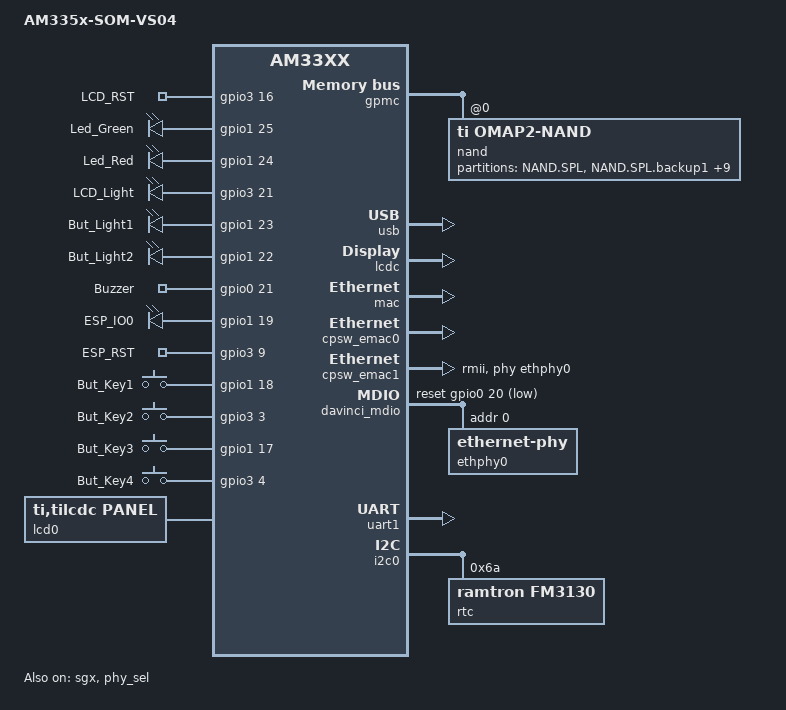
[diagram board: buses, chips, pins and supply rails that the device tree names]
/*
 * Copyright (C) 2012 Texas Instruments Incorporated - http://www.ti.com/
 *
 * This program is free software; you can redistribute it and/or modify
 * it under the terms of the GNU General Public License version 2 as
 * published by the Free Software Foundation.
 */
/dts-v1/;

#include "am335x-e.dtsi"

/ {
	model = "AM335x-SOM-VS04";
	compatible = "ti,am335x-bone", "ti,am33xx";

        leds {
            compatible = "gpio-leds";
            pinctrl-names = "default";
            pinctrl-0 = <&gpio_leds_pins &lcd_rst_pin>;

			/* lcd_rst_pin */
			LCD_RST {
		            gpios = <&gpio3 16 GPIO_ACTIVE_HIGH>;
		            default-state = "on";			
			};

            /* gpio_leds_pins */
            Led_Green {
                    gpios = <&gpio1 25 GPIO_ACTIVE_HIGH>;
                    default-state = "off";
            };
            Led_Red {
                    gpios = <&gpio1 24 GPIO_ACTIVE_HIGH>;
                    default-state = "off";
            };
            LCD_Light {
                    gpios = <&gpio3 21 GPIO_ACTIVE_HIGH>;
                    default-state = "on";	/* todo off */
            };
			But_Light1 {
                    gpios = <&gpio1 23 GPIO_ACTIVE_HIGH>;
                    default-state = "off";	
			};
			But_Light2 {
                    gpios = <&gpio1 22 GPIO_ACTIVE_HIGH>;
                    default-state = "off";			
			};
			Buzzer {
                    gpios = <&gpio0 21 GPIO_ACTIVE_HIGH>;
                    default-state = "off";	
			};
			/* fw load: io0->0; rst->0; rst->1; io0->1 --- use as gpio */
			ESP_IO0 {
                    gpios = <&gpio1 19 GPIO_ACTIVE_HIGH>;
                    default-state = "on";	
			};
			ESP_RST {
                    gpios = <&gpio3 9 GPIO_ACTIVE_HIGH>;
                    default-state = "off";	
			};
        };

		gpio_keys: gpio_buttons0 {
			compatible = "gpio-keys";
			#address-cells = <1>;
			#size-cells = <0>;

			switch1 {
				label = "But_Key1";
				linux,code = <0x41>; // A
				gpios = <&gpio1 18 GPIO_ACTIVE_HIGH>;
			};
			switch2 {
				label = "But_Key2";
				linux,code = <0x42>; // B
				gpios = <&gpio3 3 GPIO_ACTIVE_HIGH>;
			};
			switch3 {
				label = "But_Key3";
				linux,code = <0x43>; // C
				gpios = <&gpio1 17 GPIO_ACTIVE_HIGH>;
			};
			switch4 {
				label = "But_Key4";
				linux,code = <0x44>; // D
				gpios = <&gpio3 4 GPIO_ACTIVE_HIGH>;
			};
		};
};


/* дисплей
	конфиг: http://processors.wiki.ti.com/index.php/Sitara_Linux_LCDC_Porting_Guide
*/
/ {
	/* инфо и тайминги */
	lcd0: display {
		compatible = "ti,tilcdc,panel";
		status = "okay";
		pinctrl-names = "default", "sleep";
		pinctrl-0 = <&lcd_pins_default>;
		pinctrl-1 = <&lcd_pins_sleep>;

		panel-info {
			ac-bias           = <255>;
			ac-bias-intrpt    = <0>;
			dma-burst-sz      = <16>;
			bpp               = <32>;
			fdd               = <0x80>;
			sync-edge         = <1>;
			sync-ctrl         = <1>;
			raster-order      = <0>;
			fifo-th           = <0>;
		};
		display-timings {
			800x480 {				
				clock-frequency = <33300000>;
				hactive = <800>;
				vactive = <480>;
				hfront-porch = <16 210 354>;
				hback-porch = <46 46 46>;
				hsync-len = <1 20 40>;
				vback-porch = <23>;
				vfront-porch = <7 22 147>;
				vsync-len = <1 10 20>;
				hsync-active = <0>;
				vsync-active = <0>;
				de-active = <1>;
				pixelclk-active = <1>;
			};
		};
	};
};


&am33xx_pinmux {
    pinctrl-names = "default";
    pinctrl-0 = <&gpio_keys_s0 &usb_pins>;

	gpio_keys_s0: gpio_keys_s0 {
		pinctrl-single,pins = <
			0x114 (PIN_INPUT_PULLDOWN | MUX_MODE7)	/* gpio3_3 b1 */
			0x118 (PIN_INPUT_PULLDOWN | MUX_MODE7)	/* gpio3_4 b2 */
			0x44 (PIN_INPUT_PULLDOWN | MUX_MODE7)	/* gpio1_18 b3 */
			0x48 (PIN_INPUT_PULLDOWN | MUX_MODE7)	/* gpio1_17 b4 */
		>;
	};

	gpio_leds_pins: gpio2_pins {
		pinctrl-single,pins = <
			0x58 (PIN_OUTPUT_PULLDOWN | MUX_MODE7) /* (U15) gpmc_a6.gpio1[22] Light1 */
			0x5c (PIN_OUTPUT_PULLDOWN | MUX_MODE7) /* (T15) gpmc_a7.gpio1[23] Light2 */
			0x60 (PIN_OUTPUT_PULLDOWN | MUX_MODE7) /* (V16) gpmc_a8.gpio1[24] red */
			0x64 (PIN_OUTPUT_PULLDOWN | MUX_MODE7) /* (U16) gpmc_a9.gpio1[25] green */
			0x124 (PIN_OUTPUT_PULLDOWN | MUX_MODE7) /* (K16) gmii1_txd1.gpio0[21] buzzer */
			0x1ac (PIN_OUTPUT_PULLDOWN | MUX_MODE7) /* (A14) mcasp0_ahclkx.gpio3[21] backlight */
		>;
	};

	lcd_rst_pin: lcd_rst_pin {
		pinctrl-single,pins = <
		0x198 (PIN_OUTPUT | MUX_MODE7)  /* (D12) mcasp0_axr0.spi1_d1 */
		>;
	};

	/* mux ног SPI для дисплея 
	spi1_pins: spi1_pins {
	    pinctrl-single,pins = <
		0x190 (PIN_INPUT_PULLUP | MUX_MODE3) / (A13) mcasp0_aclkx.spi1_sclk /
		0x194 (PIN_INPUT | PIN_OUTPUT | PIN_INPUT_PULLUP | MUX_MODE3) / (B13) mcasp0_fsx.spi1_d0 /
		0x19c (PIN_INPUT_PULLUP | MUX_MODE3) / (C18) eCAP0_in_PWM0_out.spi1_cs1 /
	    >;
	};*/

/*	lcd data to gpio
	lcd_pins_gpio: lcd_pins_gpio {
	    pinctrl-single,pins = <
			0x00A0 (PIN_OUTPUT_PULLUP | MUX_MODE7) // "lcd_data0.gpmc_a0" 
			0x00A4 (PIN_OUTPUT_PULLUP | MUX_MODE7) // "lcd_data1.gpmc_a1" 
			0x00A8 (PIN_OUTPUT_PULLUP | MUX_MODE7) // "lcd_data2.gpmc_a2" 
			0x00AC (PIN_OUTPUT_PULLUP | MUX_MODE7) // "lcd_data3.gpmc_a3" 
			0x00B0 (PIN_OUTPUT_PULLUP | MUX_MODE7) // "lcd_data4.gpmc_a4" 
			0x00B4 (PIN_OUTPUT_PULLUP | MUX_MODE7) // "lcd_data5.gpmc_a5" 
			0x00B8 (PIN_OUTPUT_PULLUP | MUX_MODE7) // "lcd_data6.gpmc_a6" 
			0x00BC (PIN_OUTPUT_PULLUP | MUX_MODE7) // "lcd_data7.gpmc_a7" 
			0x00C0 (PIN_OUTPUT_PULLUP | MUX_MODE7) // "lcd_data8.gpmc_a8" 
			0x00C4 (PIN_OUTPUT_PULLUP | MUX_MODE7) // "lcd_data9.gpmc_a9" 
			0x00C8 (PIN_OUTPUT_PULLUP | MUX_MODE7) // "lcd_data10.gpmc_a10" 
			0x00CC (PIN_OUTPUT_PULLUP | MUX_MODE7) // "lcd_data11.gpmc_a11" 
			0x00D0 (PIN_OUTPUT_PULLUP | MUX_MODE7) // "lcd_data12.gpmc_a12" 
			0x00D4 (PIN_OUTPUT_PULLUP | MUX_MODE7) // "lcd_data13.gpmc_a13" 
			0x00D8 (PIN_OUTPUT_PULLUP | MUX_MODE7) // "lcd_data14.gpmc_a14" 
			0x00DC (PIN_OUTPUT_PULLUP | MUX_MODE7) // "lcd_data15.gpmc_a15" 
			0x003C (PIN_OUTPUT_PULLUP | MUX_MODE7) // "lcd_data16.gpmc_ad15" 
			0x0038 (PIN_OUTPUT_PULLUP | MUX_MODE7) // "lcd_data17.gpmc_ad14" 
			0x0034 (PIN_OUTPUT_PULLUP | MUX_MODE7) // "lcd_data18.gpmc_ad13" 
			0x0030 (PIN_OUTPUT_PULLUP | MUX_MODE7) // "lcd_data19.gpmc_ad12" 
			0x002C (PIN_OUTPUT_PULLUP | MUX_MODE7) // "lcd_data20.gpmc_ad11" 
			0x0028 (PIN_OUTPUT_PULLUP | MUX_MODE7) // "lcd_data21.gpmc_ad10" 
			0x0024 (PIN_OUTPUT_PULLUP | MUX_MODE7) // "lcd_data22.gpmc_ad9" 
			0x0020 (PIN_OUTPUT_PULLUP | MUX_MODE7) // "lcd_data23.gpmc_ad8" 
	    >;
	};
*/

	/* mux ног дисплея */
	lcd_pins_default: lcd_pins_default {
	    pinctrl-single,pins = <
			0x00E0 (PIN_OUTPUT | MUX_MODE0) // "lcd_vsync.gpmc_a8" 		gpio2_22 
			0x00E4 (PIN_OUTPUT | MUX_MODE0) // "lcd_hsync.gpmc_a9" 		gpio2_23 
			0x00E8 (PIN_OUTPUT | MUX_MODE0) // "lcd_pclk.gpmc_a10" 		gpio2_24 
			0x00EC (PIN_OUTPUT | MUX_MODE0) // "lcd_ac_bias_en.gpmc_a11" 	gpio2_25 	
			0x00A0 (PIN_OUTPUT | MUX_MODE0) // "lcd_data0.gpmc_a0" 2_6 
			0x00A4 (PIN_OUTPUT | MUX_MODE0) // "lcd_data1.gpmc_a1" 2_7 
			0x00A8 (PIN_OUTPUT | MUX_MODE0) // "lcd_data2.gpmc_a2" 2_8 
			0x00AC (PIN_OUTPUT | MUX_MODE0) // "lcd_data3.gpmc_a3" 2_9 
			0x00B0 (PIN_OUTPUT | MUX_MODE0) // "lcd_data4.gpmc_a4" 2_10 
			0x00B4 (PIN_OUTPUT | MUX_MODE0) // "lcd_data5.gpmc_a5" 2_11 
			0x00B8 (PIN_OUTPUT | MUX_MODE0) // "lcd_data6.gpmc_a6" 2_12 
			0x00BC (PIN_OUTPUT | MUX_MODE0) // "lcd_data7.gpmc_a7" 2_13 
			0x00C0 (PIN_OUTPUT | MUX_MODE0) // "lcd_data8.gpmc_a8" 2_14 
			0x00C4 (PIN_OUTPUT | MUX_MODE0) // "lcd_data9.gpmc_a9" 2_15 
			0x00C8 (PIN_OUTPUT | MUX_MODE0) // "lcd_data10.gpmc_a10" 2_16 
			0x00CC (PIN_OUTPUT | MUX_MODE0) // "lcd_data11.gpmc_a11" 2_17 
			0x00D0 (PIN_OUTPUT | MUX_MODE0) // "lcd_data12.gpmc_a12" 0_8 
			0x00D4 (PIN_OUTPUT | MUX_MODE0) // "lcd_data13.gpmc_a13" 0_9 
			0x00D8 (PIN_OUTPUT | MUX_MODE0) // "lcd_data14.gpmc_a14" 0_10 
			0x00DC (PIN_OUTPUT | MUX_MODE0) // "lcd_data15.gpmc_a15" 0_11 
			0x003C (PIN_OUTPUT | MUX_MODE1) // "lcd_data16.gpmc_ad15" 1_15 
			0x0038 (PIN_OUTPUT | MUX_MODE1) // "lcd_data17.gpmc_ad14" 1_14 
			0x0034 (PIN_OUTPUT | MUX_MODE1) // "lcd_data18.gpmc_ad13" 1_13 
			0x0030 (PIN_OUTPUT | MUX_MODE1) // "lcd_data19.gpmc_ad12" 1_12 
			0x002C (PIN_OUTPUT | MUX_MODE1) // "lcd_data20.gpmc_ad11" 0_27 
			0x0028 (PIN_OUTPUT | MUX_MODE1) // "lcd_data21.gpmc_ad10" 0_26 
			0x0024 (PIN_OUTPUT | MUX_MODE1) // "lcd_data22.gpmc_ad9" 0_23 
			0x0020 (PIN_OUTPUT | MUX_MODE1) // "lcd_data23.gpmc_ad8" 0_22 
	    >;
	};

	lcd_pins_sleep: lcd_pins_sleep {
	    pinctrl-single,pins = <
            AM33XX_IOPAD(0x8e0, PIN_INPUT_PULLDOWN | MUX_MODE7)	// lcd_vsync.lcd_vsync 
            AM33XX_IOPAD(0x8e4, PIN_INPUT_PULLDOWN | MUX_MODE7)	// lcd_hsync.lcd_hsync 
            AM33XX_IOPAD(0x8e8, PIN_INPUT_PULLDOWN | MUX_MODE7)	// lcd_pclk.lcd_pclk 
            AM33XX_IOPAD(0x8ec, PIN_INPUT_PULLDOWN | MUX_MODE7)	// lcd_ac_bias_en.lcd_ac_bias_en 
            AM33XX_IOPAD(0x820, PIN_INPUT_PULLDOWN | MUX_MODE7)	// gpmc_ad8.lcd_data23 
            AM33XX_IOPAD(0x824, PIN_INPUT_PULLDOWN | MUX_MODE7)	// gpmc_ad9.lcd_data22 
            AM33XX_IOPAD(0x828, PIN_INPUT_PULLDOWN | MUX_MODE7)	// gpmc_ad10.lcd_data21 
            AM33XX_IOPAD(0x82c, PIN_INPUT_PULLDOWN | MUX_MODE7)	// gpmc_ad11.lcd_data20 
            AM33XX_IOPAD(0x830, PIN_INPUT_PULLDOWN | MUX_MODE7)	// gpmc_ad12.lcd_data19 
            AM33XX_IOPAD(0x834, PIN_INPUT_PULLDOWN | MUX_MODE7)	// gpmc_ad13.lcd_data18 
            AM33XX_IOPAD(0x838, PIN_INPUT_PULLDOWN | MUX_MODE7)	// gpmc_ad14.lcd_data17 
            AM33XX_IOPAD(0x83c, PIN_INPUT_PULLDOWN | MUX_MODE7)	// gpmc_ad15.lcd_data16 
            AM33XX_IOPAD(0x8a0, PULL_DISABLE | MUX_MODE7)	// lcd_data0.lcd_data0 
            AM33XX_IOPAD(0x8a4, PULL_DISABLE | MUX_MODE7)	// lcd_data1.lcd_data1 
            AM33XX_IOPAD(0x8a8, PULL_DISABLE | MUX_MODE7)	// lcd_data2.lcd_data2 
            AM33XX_IOPAD(0x8ac, PULL_DISABLE | MUX_MODE7)	// lcd_data3.lcd_data3 
            AM33XX_IOPAD(0x8b0, PULL_DISABLE | MUX_MODE7)	// lcd_data4.lcd_data4 
            AM33XX_IOPAD(0x8b4, PULL_DISABLE | MUX_MODE7)	// lcd_data5.lcd_data5 
            AM33XX_IOPAD(0x8b8, PULL_DISABLE | MUX_MODE7)	// lcd_data6.lcd_data6 
            AM33XX_IOPAD(0x8bc, PULL_DISABLE | MUX_MODE7)	// lcd_data7.lcd_data7 
            AM33XX_IOPAD(0x8c0, PULL_DISABLE | MUX_MODE7)	// lcd_data8.lcd_data8 
            AM33XX_IOPAD(0x8c4, PULL_DISABLE | MUX_MODE7)	// lcd_data9.lcd_data9 
            AM33XX_IOPAD(0x8c8, PULL_DISABLE | MUX_MODE7)	// lcd_data10.lcd_data10 
            AM33XX_IOPAD(0x8cc, PULL_DISABLE | MUX_MODE7)	// lcd_data11.lcd_data11 
            AM33XX_IOPAD(0x8d0, PULL_DISABLE | MUX_MODE7)	// lcd_data12.lcd_data12 
            AM33XX_IOPAD(0x8d4, PULL_DISABLE | MUX_MODE7)	// lcd_data13.lcd_data13 
            AM33XX_IOPAD(0x8d8, PULL_DISABLE | MUX_MODE7)	// lcd_data14.lcd_data14 
            AM33XX_IOPAD(0x8dc, PULL_DISABLE | MUX_MODE7)	// lcd_data15.lcd_data15 
	    >;
	};

    cpsw_default: cpsw_default {
        pinctrl-single,pins = <
            /* Slave RMII */
			0x40 (PIN_OUTPUT | MUX_MODE3)	/* RMII2_TXEN gpio1_16 */
			0x50 (PIN_OUTPUT | MUX_MODE3)	/* RMII2_TD1 gpio1_20 */
			0x54 (PIN_OUTPUT | MUX_MODE3)	/* RMII2_TD0 gpio1_21 */
			0x68 (PIN_INPUT | INPUT_EN | MUX_MODE3)	/* RMII2_RD1 gpio1_26 */
			0x6C (PIN_INPUT | INPUT_EN | MUX_MODE3)	/* RMII2_RD0 gpio1_27 */
			0x88 (PIN_INPUT | INPUT_EN | MUX_MODE2)	/* RMII2_CRS_DV gpio2_0 */
			0x108 (PIN_INPUT | INPUT_EN | MUX_MODE1)	/* RMII2_refclk gpio3_0 */

        >;
    };

    cpsw_sleep: cpsw_sleep {
        pinctrl-single,pins = <
            /* Slave RMII */
			0x040 (PIN_INPUT_PULLDOWN | MUX_MODE7)
			0x050 (PIN_INPUT_PULLDOWN | MUX_MODE7)
			0x054 (PIN_INPUT_PULLDOWN | MUX_MODE7)
			0x068 (PIN_INPUT_PULLDOWN | MUX_MODE7)
			0x06C (PIN_INPUT_PULLDOWN | MUX_MODE7)
			0x088 (PIN_INPUT_PULLDOWN | MUX_MODE7)
			0x108 (PIN_INPUT_PULLDOWN | MUX_MODE7)
        >;
    };

    gpio1_pins: gpio1_pins {
            pinctrl-single,pins = <
                0x1B4 (PIN_OUTPUT_PULLDOWN | MUX_MODE7)    /* 0_20 phy reset */
				0x16c (PIN_INPUT | MUX_MODE7) /* 1_9 wdt status */
            >;
    };

	esp_pins: esp_pins {
		pinctrl-single,pins = <
			0x12c (PIN_OUTPUT | MUX_MODE7) /* 3_9 ESP_RST */
			0x04c (PIN_OUTPUT | MUX_MODE7) /* 1_19 ESP_IO0 */
			0x130 (PIN_INPUT | MUX_MODE7) /* 3_10 ESP_EN */
		>;
	};

	/*esp_spi_pins: esp_spi_pins {
		pinctrl-single,pins = <
			0x150 (PIN_INPUT_PULLUP | MUX_MODE0) / (A17) spi0_sclk.spi0_sclk /
			0x154 (PIN_INPUT_PULLUP | MUX_MODE0) / (B17) spi0_d0.spi0_d0 /
			0x158 (PIN_INPUT_PULLUP | MUX_MODE0) / (B16) spi0_d1.spi0_d1 /
			0x15c (PIN_INPUT_PULLUP | MUX_MODE0) / (A16) spi0_cs0.spi0_cs0 /
		>;
	};*/

	usb_pins: usb_pins {
		pinctrl-single,pins = <
			AM33XX_IOPAD(0xa34, PIN_OUTPUT | MUX_MODE0) /* (F15) USB1_DRVVBUS.USB1_DRVVBUS */
			0x164 (PIN_INPUT_PULLUP | MUX_MODE7)	/* usb1 co / gpio 0_7 */
			AM33XX_IOPAD(0xa1c, PIN_OUTPUT | MUX_MODE0) /* (F16) USB0_DRVVBUS.USB0_DRVVBUS */
		>;
	};
};

&usb {
        status = "okay";

        control@44e10620 {
                status = "okay";
        };

        usb-phy@47401300 {
                status = "okay";
        };

        usb-phy@47401b00 {
                status = "okay";
        };

        usb@47401000 {
                status = "okay";
                dr_mode = "host";
        };

        usb@47401800 {
                status = "okay";
                dr_mode = "host";
        };

        dma-controller@47402000  {
                status = "okay";
        };
};

&lcdc {
	status = "okay";
	blue-and-red-wiring = "crossed";
};

&sgx {	
	compatible = "ti,am3352-sgx530", "img,sgx530", "ti,sgx";
	status = "okay";
};

/*
&tscadc {
        status = "okay";
        tsc {
                ti,wires = <4>;
                ti,x-plate-resistance = <200>;
                ti,coordinate-readouts = <5>;
                ti,wire-config = <0x00 0x11 0x22 0x33>;
        };
};

&edma {
        ti,edma-xbar-event-map = <1 12 2 13>;
};
*/

&mac {
	slaves = <2>;
	active_slave = <1>;
	pinctrl-names = "default", "sleep";
	pinctrl-0 = <&cpsw_default>;
	pinctrl-1 = <&cpsw_sleep>;
	status = "okay";
	cpsw-phy-sel = <&phy_sel>;
};

/* фиктивный slave */
&cpsw_emac0 {
    status = "okay";
};

&cpsw_emac1 {
    phy_id = <&davinci_mdio>, <0>;
	phy-mode = "rmii";
	phy-handle = <&ethphy0>;
	dual_emac_res_vlan = <2>; // stuff
    status = "okay";
};

&davinci_mdio {
	compatible = "ti,davinci_mdio";
	pinctrl-names = "default", "sleep";
	pinctrl-0 = <&davinci_mdio_default>;
	pinctrl-1 = <&davinci_mdio_sleep>;
	status = "okay";

    reset-gpios = <&gpio0 20 GPIO_ACTIVE_LOW>;
	reset-delay-us = <2>;
	
	/* ksz8081 id = 0022 1561 */

	ethphy0: ethernet-phy@0 {
		reg = <0>;
		reset-assert-us = <1000>;
	};

	/*
	ethphy1: ethernet-phy@1 {
		reg = <3>;
		reset-assert-us = <1000>;
		/reset-gpios = <&gpio3 15 GPIO_ACTIVE_LOW>;/
		/reset-deassert-us = <2000>;/
		/max-speed = <100>;/
	};*/
};

&phy_sel {
	rmii-clock-ext;
	status = "okay";
};

&uart1 {
	pinctrl-names = "default";
	pinctrl-0 = <&uart1_pins>;
	status = "okay";
};

&i2c0 {
    rtc@6a {
        compatible = "ramtron,fm3130";
        reg = <0x6a>;
		status = "okay";
    };
};

/ {
	ocp {
		gpmc: gpmc@50000000 {
            status = "okay";
            pinctrl-names = "default";
            pinctrl-0 = <&nandflash_pins_s0>;
            ranges = <0 0 0x01000000 0x1000000>;   /* CS0: NAND 16M*/

			nand@0,0 {
			    compatible = "ti,omap2-nand";
			    reg = <0 0 4>; /* CS0, offset 0 */
			    nand-bus-width = <8>;
			    ti,nand-ecc-opt = "bch8";

				/*
				interrupt-parent = <&gpmc>;
				interrupts = <0 IRQ_TYPE_NONE>, <1 IRQ_TYPE NONE>;
				rb-gpios = <&gpmc 0 GPIO_ACTIVE_HIGH>;
				ti,nand-xfer-type = "polled";
				*/

			    gpmc,device-width = <1>;
			    gpmc,sync-clk-ps = <0>;
/*config1*/
			    gpmc,device-nand = "true";
			    gpmc,clk-activation-ns = <0>;
			    gpmc,wait-monitoring-ns = <0>;

/*config2*/
			    gpmc,cs-wr-off-ns = <44>; /* <280>; * <44>;*/
			    gpmc,cs-rd-off-ns = <44>; /* <280>; * <44>;*/
			    gpmc,cs-on-ns = <0>; /*<0>;*/
/*config3*/
			    gpmc,adv-wr-off-ns = <44>; /* <280>; * <44>;*/
			    gpmc,adv-rd-off-ns = <34>; /* <280>; * <34>;*/
			    gpmc,adv-on-ns = <6>; /* <6>;*/
/*config4*/
			    gpmc,we-off-ns = <40>;/* <260>;* <40>;*/
			    gpmc,we-on-ns = <0>;/* <40>; *0*/
			    gpmc,oe-off-ns = <54>;/* <260>; * <54>;*/
			    gpmc,oe-on-ns = <0>; /*<60>; * <0>;*/

				gpmc,page-burst-access-ns = <0>;
/*config5*/
			    gpmc,access-ns = <64>; /* <230>; *<64>;*/
			    gpmc,rd-cycle-ns = <82>; /* <280>; * <82>;*/
			    gpmc,wr-cycle-ns = <82>; /* <280>; * <82>;*/
/* config6*/
			    gpmc,wr-access-ns = <40>;/* <210>; * <40>;*/
			    gpmc,wr-data-mux-bus-ns = <0>; /* <0>;*/
			    gpmc,cycle2cycle-delay-ns = <0>;/*<140>; * <0>;*/
				gpmc,cycle2cycle-samecsen = "true";
				gpmc,cycle2cycle-diffcsen = "true";
			    gpmc,bus-turnaround-ns = <0>;

			    #address-cells = <1>;
			    #size-cells = <1>;
			    elm_id = <&elm>;
			    partition@0 {
                        label = "NAND.SPL";
                        reg = <0x00000000 0x000020000>;
                };
                partition@1 {
                        label = "NAND.SPL.backup1";
                        reg = <0x00020000 0x00020000>;
           		};
                partition@2 {
                        label = "NAND.SPL.backup2";
                        reg = <0x00040000 0x00020000>;
                };
                partition@3 {
                        label = "NAND.SPL.backup3";
                        reg = <0x00060000 0x00020000>;
            	};
                partition@4 {
                        label = "NAND.u-boot-spl-os";
                        reg = <0x00080000 0x00020000>;
            	};
                partition@5 {
                        label = "NAND.dtb.backup1";
                        reg = <0x000A0000 0x00020000>;
            	};
                partition@6 {
                        label = "NAND.u-boot";
                        reg = <0x000C0000 0x00100000>;
            	};
                partition@7 {
                        label = "NAND.u-boot-env";
                        reg = <0x001C0000 0x00020000>;
            	};
                partition@8 {
                        label = "NAND.u-boot-env.backup1";
                        reg = <0x001E0000 0x00020000>;
            	};
                partition@9 {
                        label = "NAND.kernel";
                        reg = <0x00200000 0x00800000>;
            	};
                partition@10 {
                        label = "NAND.file-system";
                        reg = <0x00A00000 0x07600000>; /* needs to change this size with nand size (128M: 0x07600000) (512M: 0x1f600000) */
            	};
			}; // nand

		}; // gpmc
	}; // ocp
}; // root
